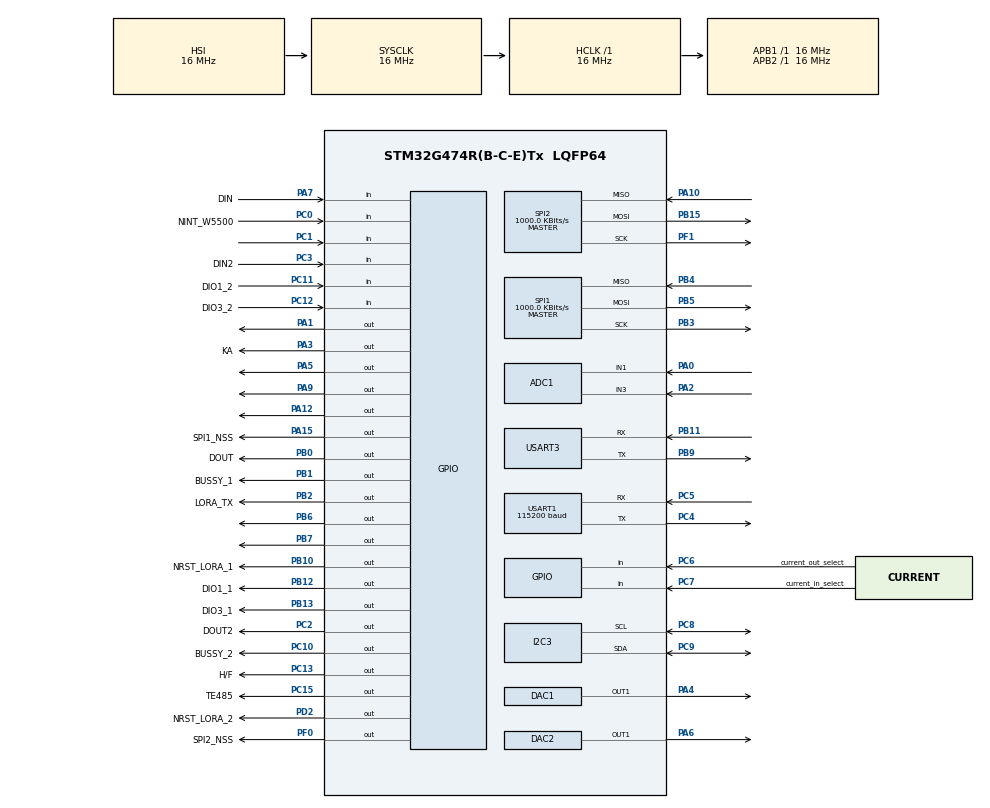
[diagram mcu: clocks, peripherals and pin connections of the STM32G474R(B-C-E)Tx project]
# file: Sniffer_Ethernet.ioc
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ADC1.Channel-3\#ChannelRegularConversion=ADC_CHANNEL_1
ADC1.Channel-8\#ChannelRegularConversion=ADC_CHANNEL_3
ADC1.ContinuousConvMode=DISABLE
ADC1.DMAContinuousRequests=DISABLE
ADC1.ExternalTrigConv=ADC_EXTERNALTRIG_T1_TRGO
ADC1.NbrOfConversion=2
ADC1.NbrOfConversionFlag=1
ADC1.OffsetNumber-3\#ChannelRegularConversion=ADC_OFFSET_NONE
ADC1.OffsetNumber-8\#ChannelRegularConversion=ADC_OFFSET_NONE
ADC1.Rank-3\#ChannelRegularConversion=1
ADC1.Rank-8\#ChannelRegularConversion=2
ADC1.SamplingTime-3\#ChannelRegularConversion=ADC_SAMPLETIME_12CYCLES_5
ADC1.SamplingTime-8\#ChannelRegularConversion=ADC_SAMPLETIME_2CYCLES_5
ADC1.master=1
Dma.ADC1.0.Direction=DMA_PERIPH_TO_MEMORY
Dma.ADC1.0.EventEnable=DISABLE
Dma.ADC1.0.Instance=DMA1_Channel1
Dma.ADC1.0.MemDataAlignment=DMA_MDATAALIGN_HALFWORD
Dma.ADC1.0.MemInc=DMA_MINC_ENABLE
Dma.ADC1.0.Mode=DMA_NORMAL
Dma.ADC1.0.PeriphDataAlignment=DMA_PDATAALIGN_HALFWORD
Dma.ADC1.0.PeriphInc=DMA_PINC_DISABLE
Dma.ADC1.0.Polarity=HAL_DMAMUX_REQ_GEN_RISING
Dma.ADC1.0.Priority=DMA_PRIORITY_LOW
Dma.ADC1.0.RequestNumber=1
Dma.ADC1.0.SignalID=NONE
Dma.ADC1.0.SyncEnable=DISABLE
Dma.ADC1.0.SyncPolarity=HAL_DMAMUX_SYNC_NO_EVENT
Dma.ADC1.0.SyncRequestNumber=1
Dma.ADC1.0.SyncSignalID=NONE
Dma.Request0=ADC1
Mcu.Family=STM32G4
Mcu.Name=STM32G474R(B-C-E)Tx
Mcu.Package=LQFP64
NVIC.ADC1_2_IRQn=true\:0\:0\:false\:false\:true\:true\:true\:true
NVIC.DMA1_Channel1_IRQn=true\:0\:0\:false\:false\:true\:false\:true\:true
NVIC.PriorityGroup=NVIC_PRIORITYGROUP_4
NVIC.USART1_IRQn=true\:0\:0\:false\:false\:true\:true\:true\:true
PA0.Mode=IN1-Single-Ended
PA0.Signal=ADC1_IN1
PA1.Signal=GPIO_Output
PA10.Mode=Full_Duplex_Master
PA10.Signal=SPI2_MISO
PA12.Signal=GPIO_Output
PA13.Mode=Serial_Wire
PA13.Signal=SYS_JTMS-SWDIO
PA14.Mode=Serial_Wire
PA14.Signal=SYS_JTCK-SWCLK
PA15.GPIO_Label=SPI1_NSS
PA15.Signal=GPIO_Output
PA2.Mode=IN3-Single-Ended
PA2.Signal=ADC1_IN3
PA3.GPIO_Label=KA
PA3.Signal=GPIO_Output
PA4.Signal=COMP_DAC11_group
PA5.GPIO_Speed=GPIO_SPEED_FREQ_VERY_HIGH
PA5.Signal=GPIO_Output
PA6.Signal=COMP_DAC21_group
PA7.GPIO_Label=DIN
PA7.Signal=GPIO_Input
PA9.Signal=GPIO_Output
PB0.GPIO_Label=DOUT
PB0.Signal=GPIO_Output
PB1.GPIO_Label=BUSSY_1
PB1.Signal=GPIO_Output
PB10.GPIO_Label=NRST_LORA_1
PB10.Signal=GPIO_Output
PB11.Mode=Asynchronous
PB11.Signal=USART3_RX
PB12.GPIO_Label=DIO1_1
PB12.Signal=GPIO_Output
PB13.GPIO_Label=DIO3_1
PB13.Signal=GPIO_Output
PB15.Mode=Full_Duplex_Master
PB15.Signal=SPI2_MOSI
PB2.GPIO_Label=LORA_TX
PB2.Signal=GPIO_Output
PB3.Mode=Full_Duplex_Master
PB3.Signal=SPI1_SCK
PB4.Mode=Full_Duplex_Master
PB4.Signal=SPI1_MISO
PB5.Mode=Full_Duplex_Master
PB5.Signal=SPI1_MOSI
PB6.Signal=GPIO_Output
PB7.Signal=GPIO_Output
PB9.Mode=Asynchronous
PB9.Signal=USART3_TX
PC0.GPIO_Label=NINT_W5500
PC0.Signal=GPIO_Input
PC1.Signal=GPIO_Input
PC10.GPIO_Label=BUSSY_2
PC10.Signal=GPIO_Output
PC11.GPIO_Label=DIO1_2
PC11.Signal=GPIO_Input
PC12.GPIO_Label=DIO3_2
PC12.Signal=GPIO_Input
PC13.GPIO_Label=H/F
PC13.Signal=GPIO_Output
PC15-OSC32_OUT.GPIO_Label=TE485
PC15-OSC32_OUT.Signal=GPIO_Output
PC2.GPIO_Label=DOUT2
PC2.Signal=GPIO_Output
PC3.GPIO_Label=DIN2
PC3.Signal=GPIO_Input
PC4.Mode=Asynchronous
PC4.Signal=USART1_TX
PC5.Mode=Asynchronous
PC5.Signal=USART1_RX
PC6.GPIO_Label=current_out_select
PC6.Signal=GPIO_Input
PC7.GPIO_Label=current_in_select
PC7.Signal=GPIO_Input
PC8.Mode=I2C
PC8.Signal=I2C3_SCL
PC9.Mode=I2C
PC9.Signal=I2C3_SDA
PD2.GPIO_Label=NRST_LORA_2
PD2.Signal=GPIO_Output
PF0-OSC_IN.GPIO_Label=SPI2_NSS
PF0-OSC_IN.Signal=GPIO_Output
PF1-OSC_OUT.Mode=Full_Duplex_Master
PF1-OSC_OUT.Signal=SPI2_SCK
ProjectManager.HeapSize=0x200
ProjectManager.StackSize=0x400
ProjectManager.TargetToolchain=STM32CubeIDE
RCC.AHBFreq_Value=16000000
RCC.APB1Freq_Value=16000000
RCC.APB1TimFreq_Value=16000000
RCC.APB2Freq_Value=16000000
RCC.APB2TimFreq_Value=16000000
RCC.CortexFreq_Value=16000000
RCC.EXTERNAL_CLOCK_VALUE=12288000
RCC.HCLKFreq_Value=16000000
RCC.HSE_VALUE=8000000
RCC.HSI48_VALUE=48000000
RCC.HSI_VALUE=16000000
RCC.LSE_VALUE=32768
RCC.SYSCLKFreq_VALUE=16000000
RCC.USBFreq_Value=64000000
RCC.VCOOutputFreq_Value=128000000
SH.COMP_DAC11_group.0=DAC1_OUT1,DAC_OUT1
SH.COMP_DAC21_group.0=DAC2_OUT1,DAC_OUT1
SPI1.BaudRatePrescaler=SPI_BAUDRATEPRESCALER_16
SPI1.CalculateBaudRate=1000.0 KBits/s
SPI1.DataSize=SPI_DATASIZE_8BIT
SPI1.Direction=SPI_DIRECTION_2LINES
SPI1.Mode=SPI_MODE_MASTER
SPI1.NSSPMode=SPI_NSS_PULSE_ENABLE
SPI1.VirtualType=VM_MASTER
SPI2.BaudRatePrescaler=SPI_BAUDRATEPRESCALER_16
SPI2.CalculateBaudRate=1000.0 KBits/s
SPI2.DataSize=SPI_DATASIZE_8BIT
SPI2.Direction=SPI_DIRECTION_2LINES
SPI2.Mode=SPI_MODE_MASTER
SPI2.VirtualType=VM_MASTER
TIM1.PeriodNoDither=100-1
TIM1.Prescaler=16000-1
TIM1.TIM_MasterOutputTrigger=TIM_TRGO_UPDATE
TIM1.TIM_MasterSlaveMode=TIM_MASTERSLAVEMODE_ENABLE
USART1.BaudRate=115200
USART1.VirtualMode-Asynchronous=VM_ASYNC
USART3.VirtualMode-Asynchronous=VM_ASYNC
VP_SYS_VS_DBSignals.Mode=DisableDeadBatterySignals
VP_TIM1_VS_ClockSourceINT.Mode=Internal
board=custom

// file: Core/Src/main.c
/* USER CODE BEGIN Header */
/**
 ******************************************************************************
 * @file           : main.c
 * @brief          : Main program body
 ******************************************************************************
 * @attention
 *
 * Copyright (c) 2023 STMicroelectronics.
 * All rights reserved.
 *
 * This software is licensed under terms that can be found in the LICENSE file
 * in the root directory of this software component.
 * If no LICENSE file comes with this software, it is provided AS-IS.
 *
 ******************************************************************************
 */
/* USER CODE END Header */
#include "main.h"

/* USER CODE BEGIN Includes */

#include "sniffer.h"
#include "wizchip_conf.h"
#include "socket.h"
#include "w5500_spi.h"
#include "ethernet.h"
#include <string.h>
#include <stdlib.h>

/* USER CODE END Includes */

/* USER CODE BEGIN PD */
//#define funciones_main  0
/* USER CODE END PD */

ADC_HandleTypeDef hadc1;
DMA_HandleTypeDef hdma_adc1;

DAC_HandleTypeDef hdac1;
DAC_HandleTypeDef hdac2;

I2C_HandleTypeDef hi2c3;

SPI_HandleTypeDef hspi1;
SPI_HandleTypeDef hspi2;

TIM_HandleTypeDef htim1;

UART_HandleTypeDef huart1;
UART_HandleTypeDef huart3;

/* USER CODE BEGIN PV */
uint16_t adc_result[2];
uint8_t dato[5];
uint8_t dato2[5];
uint8_t re[50];
uint8_t re2[50];
GPIO_PinState sw;    // PB9
uint8_t eth = 72; // H
uint16_t offset_address;
uint8_t BSB;
uint8_t RWB;
uint8_t OM;
uint8_t DATA[240];
uint8_t control_phase;
uint8_t buffer[243] = { 0 };
uint8_t buffer_t[3];
uint8_t *p;
uint8_t buffer2[3000];

uint8_t sn[4];
uint8_t buffer3[3000];
uint8_t *rt;
GPIO_PinState NSHD;	 // PC0
GPIO_PinState S485_N232; // PC15
GPIO_PinState DE485_F232; // PC13
GPIO_PinState NRE485; // PA12
GPIO_PinState NTE485; // PA1
GPIO_PinState LB; // PA5

uint8_t c = 0;
uint16_t RxXferdif = 0;
uint8_t set1 = 0;
uint8_t set2 = 0;
uint8_t time1, time2, timeNow, timeDiff;

uint8_t gar[] = { 192, 168, 60, 1 };
uint8_t sub_r[] = { 255, 255, 255, 0 };
uint8_t shar[] = { 0x00, 0x08, 0xDC, 0x01, 0x02, 0x03 };
uint8_t sipr[] = { 192, 168, 60, 101 };
uint8_t mode = 0x012;
int8_t socket_mode = 0x01; //TCP
uint8_t S_MR = 0x01;
uint8_t S_CR_open = 0x01;
uint8_t S_CR_discon = 0x08;
uint8_t S_CR_con = 0x04;
uint8_t S_CR_recv = 0x40;
uint8_t S_SR = 0x13;
uint8_t S_PORT[2] = { 0x0B, 0xB8 }; //PUERTO 3000
uint8_t S_DPORT[2] = { 0x03, 0xE8 }; // PUERTO 1000
uint8_t S_MMS[2] = { 0x05, 0xB4 };
uint8_t S_RXBUF_SIZE = 0x01; // 1KB
uint8_t S_TXBUF_SIZE = 0x01; // 1KB
uint8_t S_CR_listen = 0x02;
uint8_t _PHYCFGR_RST = 0x1D;
uint8_t _PHYCFGR_NRST = 0X9D;
uint8_t read_reg = 1;
uint8_t S_DHAR[6] = { 0x08, 0xDC, 0x00, 0x01, 0x02, 0x0A };
uint8_t S_TTL = 0x40;

uint8_t s_MR; //0
uint8_t s_CR; //1
uint8_t s_IR; //2
uint8_t s_SR; //3
uint8_t s_PORT[2]; //4
uint8_t s_DHAR[6]; //6
uint8_t s_DIPR[4]; //C
uint8_t s_DPORT[2]; //10
uint8_t s_MSS[2]; //12
uint8_t s_TOS; //15
uint8_t s_TTL; //16
uint8_t s_RXBUF_SIZE; //1E
uint8_t s_TXBUF_SIZE; //1F
uint8_t s_TX_FS[2]; //20
uint8_t s_TX_RD[2]; //22
uint8_t s_TX_WR[2]; //24

uint8_t s_RX_WR[2]; //2A
uint8_t s_IMR; //2C
uint8_t s_FRAG[2]; //2D
uint8_t s_KPALVTR; //2F

uint8_t read_IR = 0;

uint8_t socket_status = 0; // 1 CON, 2 DISCN, 3 RECV, 4 TIMEOUT, 5 SENDOK
uint8_t tx_data[4] = { 84, 69, 83, 84 }; // TEST
uint8_t send_socket0 = 0x20;
uint16_t point = 0;
uint16_t q = 0;

uint8_t s_send_ok = 0; //0x10
uint8_t s_timeout = 0; //0x08
uint8_t s_recv = 0; //0x04
uint8_t s_discon = 0; //0x02
uint8_t s_con = 0; //0x01
uint16_t len_rx = 0;
uint16_t offset_read = 0;
uint8_t data_transmition[3000];

/* USER CODE END PV */

void SystemClock_Config(void);
static void MX_GPIO_Init(void);
static void MX_DMA_Init(void);
static void MX_ADC1_Init(void);
static void MX_DAC1_Init(void);
static void MX_DAC2_Init(void);
static void MX_I2C3_Init(void);
static void MX_SPI1_Init(void);
static void MX_USART1_UART_Init(void);
static void MX_SPI2_Init(void);
static void MX_TIM1_Init(void);
static void MX_USART3_UART_Init(void);

/* USER CODE BEGIN 0 */

Sniffer_t *s;

void HAL_ADC_ConvCpltCallback(ADC_HandleTypeDef *hadc) {
	for (int adcIdx = 0; adcIdx < ADC_CHANNELS; adcIdx++) {

		adcSum[adcIdx] -= adcReadings[adcIdx][adcCounter[adcIdx]];
		if ((int32_t) adcSum[adcIdx] < 0)
			adcSum[adcIdx] = 0;

		// Store the new value in the buffer
		adcReadings[adcIdx][adcCounter[adcIdx]] = adcValues[adcIdx];

		// Add new value to the sumh
		adcSum[adcIdx] += adcValues[adcIdx];

		// Calculate and return the average
		adcMA[adcIdx] = (adcSum[adcIdx] / ADC_WINDOW_SIZE);

		// Increment the current index and wrap around if necessary
		adcCounter[adcIdx]++;
		if (adcCounter[adcIdx] >= ADC_WINDOW_SIZE) {
			adcCounter[adcIdx] = 0;
		}

	}

	HAL_ADC_Stop_DMA(&hadc1);

}

void HAL_UART_RxCpltCallback(UART_HandleTypeDef *huart) {
	// Read received data from UART1
	/*
	 c=1;
	 HAL_UART_Receive_IT(huart,re, 50);
	 */
	//uint8_t *data = s->serial_lora->data;     ///////////////REVISAR///////////////////
	//uint8_t len;
	//&len =&( s->serial->len);
	s->serial_lora->len++;
	/*
	 if (len >= UART_SIZE-1) {
	 s->serial->len = 0;
	 s->serial_lora->isReceivedDataReady = true;
	 memset(data, 0, UART_SIZE);
	 }
	 HAL_UART_Receive_IT(s->serial->handler, s->serial->data+s->serial->len, 1);
	 */
	//processReceived(s);
	//	HAL_UART_Receive_IT(huart,re, 50);
	HAL_UART_Receive_IT(s->serial_lora->handler,
			s->serial_lora->data + s->serial_lora->len, 1);
	s->serial_lora->isReceivedDataReady = true;

}

/* USER CODE END 0 */

int main(void)
{
  /* USER CODE BEGIN 1 */
	uint32_t keep_alive_counter = HAL_GetTick();
  /* USER CODE END 1 */

  /* MCU Configuration--------------------------------------------------------*/

  /* Reset of all peripherals, Initializes the Flash interface and the Systick. */
  HAL_Init();

  /* Configure the system clock */
  SystemClock_Config();

  /* Initialize all configured peripherals */
  MX_GPIO_Init();
  MX_DMA_Init();
  MX_ADC1_Init();
  MX_DAC1_Init();
  MX_DAC2_Init();
  MX_I2C3_Init();
  MX_SPI1_Init();
  MX_USART1_UART_Init();
  MX_SPI2_Init();
  MX_TIM1_Init();
  MX_USART3_UART_Init();
  /* USER CODE BEGIN 2 */

	s = sniffer(&hi2c3, adcMA);

	s->fsk = fsk_Init(&hspi1, &hspi2);

	// lora config
	// writeCommon(s->lora->txhw);
	//writeCommon(s->lora->rxhw);
	// setTxMode(s->lora->txhw, s->lora->ufreq);
	// setRxMode(s->lora->rxhw, s->lora->dfreq);
	// writeLoRaParams(s->lora);
	// startRxContinuous(s->lora->rxhw, RECEIVE_PAYLOAD_LENGTH);
	//
	/*
	 HAL_GPIO_WritePin(GPIOA, GPIO_PIN_3, 1); // KA
	 // RS485/N232 LTC2873
	 HAL_GPIO_WritePin(GPIOA, GPIO_PIN_9, 0); // NRESET W5500
	 HAL_Delay(2);
	 HAL_GPIO_WritePin(GPIOA, GPIO_PIN_9, 1); // NRESET W5500
	 //HAL_GPIO_WritePin(GPIOC, GPIO_PIN_0, 1); // NSHD
	 HAL_GPIO_WritePin(GPIOA, GPIO_PIN_5, 1); // S485_N232
	 HAL_GPIO_WritePin(GPIOC, GPIO_PIN_15, 0); // DE485_F232
	 HAL_GPIO_WritePin(GPIOC, GPIO_PIN_13, 0); // NRE485
	 HAL_GPIO_WritePin(GPIOA, GPIO_PIN_12, 0); // NTE485
	 HAL_GPIO_WritePin(GPIOA, GPIO_PIN_1, 0); // LB
	 //HAL_UART_Receive_IT(&huart1, re, 50); sacado
	 sw = HAL_GPIO_ReadPin(DIN2_GPIO_Port, DIN2_Pin);

	 HAL_GPIO_WritePin(GPIOA, GPIO_PIN_5, sw); // S485_N232

	 //SPI ETHERNET
	 HAL_GPIO_WritePin(GPIOB, GPIO_PIN_7, 1); // CS HIGH DISABLE
	 */
	//-----------------------------------------------------------
	//configuración fisicas del chip//
	/*
	 eth_write_reg(COMMON_REG_OFFSET, PHYCFGR_RST_OFFSET,(uint8_t*) &_PHYCFGR_RST, sizeof(_PHYCFGR_RST));
	 HAL_Delay(500);
	 eth_write_reg(COMMON_REG_OFFSET, PHYCFGR_RST_OFFSET,(uint8_t*) &_PHYCFGR_NRST, sizeof(_PHYCFGR_NRST));
	 HAL_Delay(200);

	 //configuración de registros comunes
	 common_reg_config(buffer, mode, gar, sub_r, shar, sipr);

	 socket_reg_config(buffer, S_MR, S_PORT, S_DHAR, S_DPORT, S_MMS, S_TTL,
	 S_RXBUF_SIZE, S_TXBUF_SIZE, S_CR_open, S_CR_listen);
	 */

  /* USER CODE END 2 */

  /* Infinite loop */
  /* USER CODE BEGIN WHILE */

	uint32_t tx_ticks = HAL_GetTick();
	uint32_t tx_timeout = 9000;

	while (1) {

		//readWhenDataArrive(s->lora);
		//startTransmition(loRa);
		//processReceived(s);

		set_fsk_tx_mode(s->fsk);

		//while (!is_irqflag2_enable(hw, FifoEmpty_IRQ))
		//	;

		set_fsk_rx_mode(s->fsk);

		/*
		 // LEER REGISTRO IR
		 eth_read_reg(socket_0_register,  S_IR_OFFSET, &s_IR, sizeof(s_IR));
		 if (s_IR & Sn_IR_MASK) {
		 uint8_t ir_reset;
		 if (s_IR & Sn_CONNECT){  // SOCK_ESTABLISHED
		 socket_cmd_cfg(socket_0_register, S_CR_CONNECT);
		 ir_reset = Sn_CONNECT;
		 }
		 if (s_IR & Sn_DISCONNECT) { //FIN/ACK
		 socket_cmd_cfg(socket_0_register, S_CR_DISCONECT);
		 socket_cmd_cfg(socket_0_register, S_CR_OPEN);
		 socket_cmd_cfg(socket_0_register, S_CR_LISTEN);
		 ir_reset = Sn_DISCONNECT;
		 }
		 if ((s_IR & Sn_RECEIVE)) {
		 /* readDataFromEthernet
		 s->eth_lenRX = read_socket_n_rx_buffer(socket_0_register,s->eth_bufRX);
		 socket_cmd_cfg(socket_0_register, S_CR_RECV);
		 ir_reset = Sn_RECEIVE;
		 }
		 eth_write_reg(socket_0_register, S_IR_OFFSET, (uint8_t*) &ir_reset,
		 sizeof(ir_reset));

		 }

		 // lectura status del socket
		 eth_read_reg(socket_0_register,  S_SR_OFFSET, &s_SR, sizeof(s_SR));
		 */

		if (HAL_GetTick() - keep_alive_counter > 1000)
			keep_alive_counter = HAL_GetTick();
		else {
			if (HAL_GetTick() - keep_alive_counter > 50)
				HAL_GPIO_WritePin(KA_GPIO_Port, KA_Pin, GPIO_PIN_RESET);
			else
				HAL_GPIO_WritePin(KA_GPIO_Port, KA_Pin, GPIO_PIN_SET);
		}

    /* USER CODE END WHILE */

	}
}

void SystemClock_Config(void)
{
  RCC_OscInitTypeDef RCC_OscInitStruct = {0};
  RCC_ClkInitTypeDef RCC_ClkInitStruct = {0};

  /** Configure the main internal regulator output voltage
  */
  HAL_PWREx_ControlVoltageScaling(PWR_REGULATOR_VOLTAGE_SCALE1);

  /** Initializes the RCC Oscillators according to the specified parameters
  * in the RCC_OscInitTypeDef structure.
  */
  RCC_OscInitStruct.OscillatorType = RCC_OSCILLATORTYPE_HSI;
  RCC_OscInitStruct.HSIState = RCC_HSI_ON;
  RCC_OscInitStruct.HSICalibrationValue = RCC_HSICALIBRATION_DEFAULT;
  RCC_OscInitStruct.PLL.PLLState = RCC_PLL_NONE;
  if (HAL_RCC_OscConfig(&RCC_OscInitStruct) != HAL_OK)
  {
    Error_Handler();
  }

  /** Initializes the CPU, AHB and APB buses clocks
  */
  RCC_ClkInitStruct.ClockType = RCC_CLOCKTYPE_HCLK|RCC_CLOCKTYPE_SYSCLK
                              |RCC_CLOCKTYPE_PCLK1|RCC_CLOCKTYPE_PCLK2;
  RCC_ClkInitStruct.SYSCLKSource = RCC_SYSCLKSOURCE_HSI;
  RCC_ClkInitStruct.AHBCLKDivider = RCC_SYSCLK_DIV1;
  RCC_ClkInitStruct.APB1CLKDivider = RCC_HCLK_DIV1;
  RCC_ClkInitStruct.APB2CLKDivider = RCC_HCLK_DIV1;

  if (HAL_RCC_ClockConfig(&RCC_ClkInitStruct, FLASH_LATENCY_0) != HAL_OK)
  {
    Error_Handler();
  }
}

static void MX_ADC1_Init(void)
{

  ADC_MultiModeTypeDef multimode = {0};
  ADC_ChannelConfTypeDef sConfig = {0};

  /** Common config
  */
  hadc1.Instance = ADC1;
  hadc1.Init.ClockPrescaler = ADC_CLOCK_SYNC_PCLK_DIV2;
  hadc1.Init.Resolution = ADC_RESOLUTION_12B;
  hadc1.Init.DataAlign = ADC_DATAALIGN_RIGHT;
  hadc1.Init.GainCompensation = 0;
  hadc1.Init.ScanConvMode = ADC_SCAN_ENABLE;
  hadc1.Init.EOCSelection = ADC_EOC_SINGLE_CONV;
  hadc1.Init.LowPowerAutoWait = DISABLE;
  hadc1.Init.ContinuousConvMode = DISABLE;
  hadc1.Init.NbrOfConversion = 2;
  hadc1.Init.DiscontinuousConvMode = DISABLE;
  hadc1.Init.ExternalTrigConv = ADC_EXTERNALTRIG_T1_TRGO;
  hadc1.Init.ExternalTrigConvEdge = ADC_EXTERNALTRIGCONVEDGE_RISING;
  hadc1.Init.DMAContinuousRequests = DISABLE;
  hadc1.Init.Overrun = ADC_OVR_DATA_PRESERVED;
  hadc1.Init.OversamplingMode = DISABLE;
  if (HAL_ADC_Init(&hadc1) != HAL_OK)
  {
    Error_Handler();
  }

  /** Configure the ADC multi-mode
  */
  multimode.Mode = ADC_MODE_INDEPENDENT;
  if (HAL_ADCEx_MultiModeConfigChannel(&hadc1, &multimode) != HAL_OK)
  {
    Error_Handler();
  }

  /** Configure Regular Channel
  */
  sConfig.Channel = ADC_CHANNEL_1;
  sConfig.Rank = ADC_REGULAR_RANK_1;
  sConfig.SamplingTime = ADC_SAMPLETIME_12CYCLES_5;
  sConfig.SingleDiff = ADC_SINGLE_ENDED;
  sConfig.OffsetNumber = ADC_OFFSET_NONE;
  sConfig.Offset = 0;
  if (HAL_ADC_ConfigChannel(&hadc1, &sConfig) != HAL_OK)
  {
    Error_Handler();
  }

  /** Configure Regular Channel
  */
  sConfig.Channel = ADC_CHANNEL_3;
  sConfig.Rank = ADC_REGULAR_RANK_2;
  sConfig.SamplingTime = ADC_SAMPLETIME_2CYCLES_5;
  if (HAL_ADC_ConfigChannel(&hadc1, &sConfig) != HAL_OK)
  {
    Error_Handler();
  }

}

static void MX_DAC1_Init(void)
{

  DAC_ChannelConfTypeDef sConfig = {0};

  /** DAC Initialization
  */
  hdac1.Instance = DAC1;
  if (HAL_DAC_Init(&hdac1) != HAL_OK)
  {
    Error_Handler();
  }

  /** DAC channel OUT1 config
  */
  sConfig.DAC_HighFrequency = DAC_HIGH_FREQUENCY_INTERFACE_MODE_AUTOMATIC;
  sConfig.DAC_DMADoubleDataMode = DISABLE;
  sConfig.DAC_SignedFormat = DISABLE;
  sConfig.DAC_SampleAndHold = DAC_SAMPLEANDHOLD_DISABLE;
  sConfig.DAC_Trigger = DAC_TRIGGER_NONE;
  sConfig.DAC_Trigger2 = DAC_TRIGGER_NONE;
  sConfig.DAC_OutputBuffer = DAC_OUTPUTBUFFER_ENABLE;
  sConfig.DAC_ConnectOnChipPeripheral = DAC_CHIPCONNECT_EXTERNAL;
  sConfig.DAC_UserTrimming = DAC_TRIMMING_FACTORY;
  if (HAL_DAC_ConfigChannel(&hdac1, &sConfig, DAC_CHANNEL_1) != HAL_OK)
  {
    Error_Handler();
  }

}

static void MX_DAC2_Init(void)
{

  DAC_ChannelConfTypeDef sConfig = {0};

  /** DAC Initialization
  */
  hdac2.Instance = DAC2;
  if (HAL_DAC_Init(&hdac2) != HAL_OK)
  {
    Error_Handler();
  }

  /** DAC channel OUT1 config
  */
  sConfig.DAC_HighFrequency = DAC_HIGH_FREQUENCY_INTERFACE_MODE_AUTOMATIC;
  sConfig.DAC_DMADoubleDataMode = DISABLE;
  sConfig.DAC_SignedFormat = DISABLE;
  sConfig.DAC_SampleAndHold = DAC_SAMPLEANDHOLD_DISABLE;
  sConfig.DAC_Trigger = DAC_TRIGGER_NONE;
  sConfig.DAC_Trigger2 = DAC_TRIGGER_NONE;
  sConfig.DAC_OutputBuffer = DAC_OUTPUTBUFFER_ENABLE;
  sConfig.DAC_ConnectOnChipPeripheral = DAC_CHIPCONNECT_EXTERNAL;
  sConfig.DAC_UserTrimming = DAC_TRIMMING_FACTORY;
  if (HAL_DAC_ConfigChannel(&hdac2, &sConfig, DAC_CHANNEL_1) != HAL_OK)
  {
    Error_Handler();
  }

}

static void MX_I2C3_Init(void)
{

  hi2c3.Instance = I2C3;
  hi2c3.Init.Timing = 0x00303D5B;
  hi2c3.Init.OwnAddress1 = 0;
  hi2c3.Init.AddressingMode = I2C_ADDRESSINGMODE_7BIT;
  hi2c3.Init.DualAddressMode = I2C_DUALADDRESS_DISABLE;
  hi2c3.Init.OwnAddress2 = 0;
  hi2c3.Init.OwnAddress2Masks = I2C_OA2_NOMASK;
  hi2c3.Init.GeneralCallMode = I2C_GENERALCALL_DISABLE;
  hi2c3.Init.NoStretchMode = I2C_NOSTRETCH_DISABLE;
  if (HAL_I2C_Init(&hi2c3) != HAL_OK)
  {
    Error_Handler();
  }

  /** Configure Analogue filter
  */
  if (HAL_I2CEx_ConfigAnalogFilter(&hi2c3, I2C_ANALOGFILTER_ENABLE) != HAL_OK)
  {
    Error_Handler();
  }

  /** Configure Digital filter
  */
  if (HAL_I2CEx_ConfigDigitalFilter(&hi2c3, 0) != HAL_OK)
  {
    Error_Handler();
  }

}

static void MX_SPI1_Init(void)
{

  /* SPI1 parameter configuration*/
  hspi1.Instance = SPI1;
  hspi1.Init.Mode = SPI_MODE_MASTER;
  hspi1.Init.Direction = SPI_DIRECTION_2LINES;
  hspi1.Init.DataSize = SPI_DATASIZE_8BIT;
  hspi1.Init.CLKPolarity = SPI_POLARITY_LOW;
  hspi1.Init.CLKPhase = SPI_PHASE_1EDGE;
  hspi1.Init.NSS = SPI_NSS_SOFT;
  hspi1.Init.BaudRatePrescaler = SPI_BAUDRATEPRESCALER_16;
  hspi1.Init.FirstBit = SPI_FIRSTBIT_MSB;
  hspi1.Init.TIMode = SPI_TIMODE_DISABLE;
  hspi1.Init.CRCCalculation = SPI_CRCCALCULATION_DISABLE;
  hspi1.Init.CRCPolynomial = 7;
  hspi1.Init.CRCLength = SPI_CRC_LENGTH_DATASIZE;
  hspi1.Init.NSSPMode = SPI_NSS_PULSE_ENABLE;
  if (HAL_SPI_Init(&hspi1) != HAL_OK)
  {
    Error_Handler();
  }

}

static void MX_SPI2_Init(void)
{

  /* SPI2 parameter configuration*/
  hspi2.Instance = SPI2;
  hspi2.Init.Mode = SPI_MODE_MASTER;
  hspi2.Init.Direction = SPI_DIRECTION_2LINES;
  hspi2.Init.DataSize = SPI_DATASIZE_8BIT;
  hspi2.Init.CLKPolarity = SPI_POLARITY_LOW;
  hspi2.Init.CLKPhase = SPI_PHASE_1EDGE;
  hspi2.Init.NSS = SPI_NSS_SOFT;
  hspi2.Init.BaudRatePrescaler = SPI_BAUDRATEPRESCALER_16;
  hspi2.Init.FirstBit = SPI_FIRSTBIT_MSB;
  hspi2.Init.TIMode = SPI_TIMODE_DISABLE;
  hspi2.Init.CRCCalculation = SPI_CRCCALCULATION_DISABLE;
  hspi2.Init.CRCPolynomial = 7;
  hspi2.Init.CRCLength = SPI_CRC_LENGTH_DATASIZE;
  hspi2.Init.NSSPMode = SPI_NSS_PULSE_ENABLE;
  if (HAL_SPI_Init(&hspi2) != HAL_OK)
  {
    Error_Handler();
  }

}

static void MX_TIM1_Init(void)
{

  TIM_ClockConfigTypeDef sClockSourceConfig = {0};
  TIM_MasterConfigTypeDef sMasterConfig = {0};

  htim1.Instance = TIM1;
  htim1.Init.Prescaler = 16000-1;
  htim1.Init.CounterMode = TIM_COUNTERMODE_UP;
  htim1.Init.Period = 99;
  htim1.Init.ClockDivision = TIM_CLOCKDIVISION_DIV1;
  htim1.Init.RepetitionCounter = 0;
  htim1.Init.AutoReloadPreload = TIM_AUTORELOAD_PRELOAD_DISABLE;
  if (HAL_TIM_Base_Init(&htim1) != HAL_OK)
  {
    Error_Handler();
  }
  sClockSourceConfig.ClockSource = TIM_CLOCKSOURCE_INTERNAL;
  if (HAL_TIM_ConfigClockSource(&htim1, &sClockSourceConfig) != HAL_OK)
  {
    Error_Handler();
  }
  sMasterConfig.MasterOutputTrigger = TIM_TRGO_UPDATE;
  sMasterConfig.MasterOutputTrigger2 = TIM_TRGO2_RESET;
  sMasterConfig.MasterSlaveMode = TIM_MASTERSLAVEMODE_ENABLE;
  if (HAL_TIMEx_MasterConfigSynchronization(&htim1, &sMasterConfig) != HAL_OK)
  {
    Error_Handler();
  }

}

static void MX_USART1_UART_Init(void)
{

  huart1.Instance = USART1;
  huart1.Init.BaudRate = 115200;
  huart1.Init.WordLength = UART_WORDLENGTH_8B;
  huart1.Init.StopBits = UART_STOPBITS_1;
  huart1.Init.Parity = UART_PARITY_NONE;
  huart1.Init.Mode = UART_MODE_TX_RX;
  huart1.Init.HwFlowCtl = UART_HWCONTROL_NONE;
  huart1.Init.OverSampling = UART_OVERSAMPLING_16;
  huart1.Init.OneBitSampling = UART_ONE_BIT_SAMPLE_DISABLE;
  huart1.Init.ClockPrescaler = UART_PRESCALER_DIV1;
  huart1.AdvancedInit.AdvFeatureInit = UART_ADVFEATURE_NO_INIT;
  if (HAL_UART_Init(&huart1) != HAL_OK)
  {
    Error_Handler();
  }
  if (HAL_UARTEx_SetTxFifoThreshold(&huart1, UART_TXFIFO_THRESHOLD_1_8) != HAL_OK)
  {
    Error_Handler();
  }
  if (HAL_UARTEx_SetRxFifoThreshold(&huart1, UART_RXFIFO_THRESHOLD_1_8) != HAL_OK)
  {
    Error_Handler();
  }
  if (HAL_UARTEx_DisableFifoMode(&huart1) != HAL_OK)
  {
    Error_Handler();
  }

}

static void MX_USART3_UART_Init(void)
{

  huart3.Instance = USART3;
  huart3.Init.BaudRate = 115200;
  huart3.Init.WordLength = UART_WORDLENGTH_8B;
  huart3.Init.StopBits = UART_STOPBITS_1;
  huart3.Init.Parity = UART_PARITY_NONE;
  huart3.Init.Mode = UART_MODE_TX_RX;
  huart3.Init.HwFlowCtl = UART_HWCONTROL_NONE;
  huart3.Init.OverSampling = UART_OVERSAMPLING_16;
  huart3.Init.OneBitSampling = UART_ONE_BIT_SAMPLE_DISABLE;
  huart3.Init.ClockPrescaler = UART_PRESCALER_DIV1;
  huart3.AdvancedInit.AdvFeatureInit = UART_ADVFEATURE_NO_INIT;
  if (HAL_UART_Init(&huart3) != HAL_OK)
  {
    Error_Handler();
  }
  if (HAL_UARTEx_SetTxFifoThreshold(&huart3, UART_TXFIFO_THRESHOLD_1_8) != HAL_OK)
  {
    Error_Handler();
  }
  if (HAL_UARTEx_SetRxFifoThreshold(&huart3, UART_RXFIFO_THRESHOLD_1_8) != HAL_OK)
  {
    Error_Handler();
  }
  if (HAL_UARTEx_DisableFifoMode(&huart3) != HAL_OK)
  {
    Error_Handler();
  }

}

static void MX_DMA_Init(void)
{

  /* DMA controller clock enable */
  __HAL_RCC_DMAMUX1_CLK_ENABLE();
  __HAL_RCC_DMA1_CLK_ENABLE();

  /* DMA interrupt init */
  /* DMA1_Channel1_IRQn interrupt configuration */
  HAL_NVIC_SetPriority(DMA1_Channel1_IRQn, 0, 0);
  HAL_NVIC_EnableIRQ(DMA1_Channel1_IRQn);

}

static void MX_GPIO_Init(void)
{
  GPIO_InitTypeDef GPIO_InitStruct = {0};

  /* GPIO Ports Clock Enable */
  __HAL_RCC_GPIOC_CLK_ENABLE();
  __HAL_RCC_GPIOF_CLK_ENABLE();
  __HAL_RCC_GPIOA_CLK_ENABLE();
  __HAL_RCC_GPIOB_CLK_ENABLE();
  __HAL_RCC_GPIOD_CLK_ENABLE();

  /*Configure GPIO pin Output Level */
  HAL_GPIO_WritePin(GPIOC, H_F_Pin|TE485_Pin|DOUT2_Pin|BUSSY_2_Pin, GPIO_PIN_RESET);

  /*Configure GPIO pin Output Level */
  HAL_GPIO_WritePin(SPI2_NSS_GPIO_Port, SPI2_NSS_Pin, GPIO_PIN_RESET);

  /*Configure GPIO pin Output Level */
  HAL_GPIO_WritePin(GPIOA, GPIO_PIN_1|KA_Pin|GPIO_PIN_5|GPIO_PIN_9
                          |GPIO_PIN_12|SPI1_NSS_Pin, GPIO_PIN_RESET);

  /*Configure GPIO pin Output Level */
  HAL_GPIO_WritePin(GPIOB, DOUT_Pin|BUSSY_1_Pin|LORA_TX_Pin|NRST_LORA_1_Pin
                          |DIO1_1_Pin|DIO3_1_Pin|GPIO_PIN_6|GPIO_PIN_7, GPIO_PIN_RESET);

  /*Configure GPIO pin Output Level */
  HAL_GPIO_WritePin(NRST_LORA_2_GPIO_Port, NRST_LORA_2_Pin, GPIO_PIN_RESET);

  /*Configure GPIO pins : H_F_Pin TE485_Pin DOUT2_Pin BUSSY_2_Pin */
  GPIO_InitStruct.Pin = H_F_Pin|TE485_Pin|DOUT2_Pin|BUSSY_2_Pin;
  GPIO_InitStruct.Mode = GPIO_MODE_OUTPUT_PP;
  GPIO_InitStruct.Pull = GPIO_NOPULL;
  GPIO_InitStruct.Speed = GPIO_SPEED_FREQ_LOW;
  HAL_GPIO_Init(GPIOC, &GPIO_InitStruct);

  /*Configure GPIO pin : SPI2_NSS_Pin */
  GPIO_InitStruct.Pin = SPI2_NSS_Pin;
  GPIO_InitStruct.Mode = GPIO_MODE_OUTPUT_PP;
  GPIO_InitStruct.Pull = GPIO_NOPULL;
  GPIO_InitStruct.Speed = GPIO_SPEED_FREQ_LOW;
  HAL_GPIO_Init(SPI2_NSS_GPIO_Port, &GPIO_InitStruct);

  /*Configure GPIO pins : NINT_W5500_Pin PC1 DIN2_Pin current_out_select_Pin
                           current_in_select_Pin DIO1_2_Pin DIO3_2_Pin */
  GPIO_InitStruct.Pin = NINT_W5500_Pin|GPIO_PIN_1|DIN2_Pin|current_out_select_Pin
                          |current_in_select_Pin|DIO1_2_Pin|DIO3_2_Pin;
  GPIO_InitStruct.Mode = GPIO_MODE_INPUT;
  GPIO_InitStruct.Pull = GPIO_NOPULL;
  HAL_GPIO_Init(GPIOC, &GPIO_InitStruct);

  /*Configure GPIO pins : PA1 KA_Pin PA9 PA12
                           SPI1_NSS_Pin */
  GPIO_InitStruct.Pin = GPIO_PIN_1|KA_Pin|GPIO_PIN_9|GPIO_PIN_12
                          |SPI1_NSS_Pin;
  GPIO_InitStruct.Mode = GPIO_MODE_OUTPUT_PP;
  GPIO_InitStruct.Pull = GPIO_NOPULL;
  GPIO_InitStruct.Speed = GPIO_SPEED_FREQ_LOW;
  HAL_GPIO_Init(GPIOA, &GPIO_InitStruct);

  /*Configure GPIO pin : PA5 */
  GPIO_InitStruct.Pin = GPIO_PIN_5;
  GPIO_InitStruct.Mode = GPIO_MODE_OUTPUT_PP;
  GPIO_InitStruct.Pull = GPIO_NOPULL;
  GPIO_InitStruct.Speed = GPIO_SPEED_FREQ_VERY_HIGH;
  HAL_GPIO_Init(GPIOA, &GPIO_InitStruct);

  /*Configure GPIO pin : DIN_Pin */
  GPIO_InitStruct.Pin = DIN_Pin;
  GPIO_InitStruct.Mode = GPIO_MODE_INPUT;
  GPIO_InitStruct.Pull = GPIO_NOPULL;
  HAL_GPIO_Init(DIN_GPIO_Port, &GPIO_InitStruct);

  /*Configure GPIO pins : DOUT_Pin BUSSY_1_Pin LORA_TX_Pin NRST_LORA_1_Pin
                           DIO1_1_Pin DIO3_1_Pin PB6 PB7 */
  GPIO_InitStruct.Pin = DOUT_Pin|BUSSY_1_Pin|LORA_TX_Pin|NRST_LORA_1_Pin
                          |DIO1_1_Pin|DIO3_1_Pin|GPIO_PIN_6|GPIO_PIN_7;
  GPIO_InitStruct.Mode = GPIO_MODE_OUTPUT_PP;
  GPIO_InitStruct.Pull = GPIO_NOPULL;
  GPIO_InitStruct.Speed = GPIO_SPEED_FREQ_LOW;
  HAL_GPIO_Init(GPIOB, &GPIO_InitStruct);

  /*Configure GPIO pin : NRST_LORA_2_Pin */
  GPIO_InitStruct.Pin = NRST_LORA_2_Pin;
  GPIO_InitStruct.Mode = GPIO_MODE_OUTPUT_PP;
  GPIO_InitStruct.Pull = GPIO_NOPULL;
  GPIO_InitStruct.Speed = GPIO_SPEED_FREQ_LOW;
  HAL_GPIO_Init(NRST_LORA_2_GPIO_Port, &GPIO_InitStruct);

}

void Error_Handler(void)
{
	__disable_irq();
	while (1) {
	}
}
